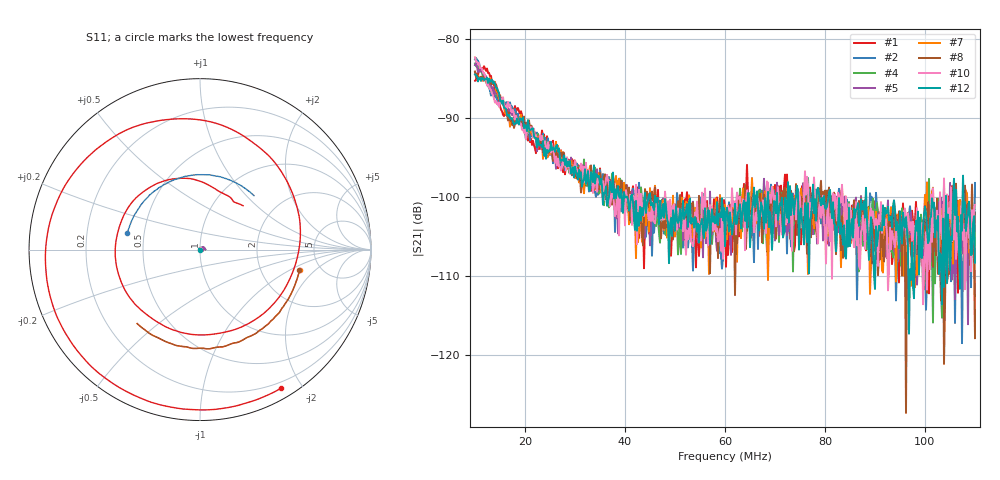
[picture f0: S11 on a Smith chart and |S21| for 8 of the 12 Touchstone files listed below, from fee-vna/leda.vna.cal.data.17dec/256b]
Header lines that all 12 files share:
! Anritsu VNA Master:  Model: MS2036C/10/77
! SN:  1601066
! Existing Calibration Information:
! TYPE:  Current Settings,  Active Cal Settings
! # POINTS:  501,  501
! START FREQ:  10.000 MHz,  10.000 MHz
! STOP FREQ:  110.000 MHz,  110.000 MHz
! SOURCE POWER:  High,  High
! IFBW:  100 Hz,  100 Hz
! AVG FACTOR:  1 ,  1
! REF PLANE 1:  0 mm,  0 mm
! REF PLANE 2:  0 mm,  0 mm
! CAL TYPE:  Full S11,  Full S11
! CAL METHOD:  SOLT,  SOLT
! CAL LINE TYPE:  Coax,  Coax
! DUT PORT 1:  N-Conn(F),  N-Conn(F)
! DUT PORT 2:  K-Conn(F),  K-Conn(F)
! CAL STATUS:  OK: Accuracy High,  --
# GHZ S DB R 50.0
! FREQ.GHZ  S11DB  S11A  S21DB  S21A  S12DB  S12A  S22DB  S22A
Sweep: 10 MHz to 110 MHz
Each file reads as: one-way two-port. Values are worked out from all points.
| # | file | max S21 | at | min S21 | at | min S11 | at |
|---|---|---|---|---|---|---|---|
| 1 | 256.ns.n.me.s2p | -83.49 dB | 11.8 MHz | -112.2 dB | 100.8 MHz | -9.3 dB | 106 MHz |
| 2 | 256.ns.n.r20.11.s2p | -82.46 dB | 10.2 MHz | -118.5 dB | 107.4 MHz | -7.3 dB | 27 MHz |
| 3 | 256.ns.n.r20.12.s2p | -82.38 dB | 10 MHz | -116.9 dB | 94 MHz | -7.3 dB | 27 MHz |
| 4 | 256.ns.n.r50.12.s2p | -83.16 dB | 10 MHz | -115.9 dB | 101.6 MHz | -43.6 dB | 10.2 MHz |
| 5 | 256.ns.n.r50.21.s2p | -83.11 dB | 10.2 MHz | -116.2 dB | 108.6 MHz | -44.0 dB | 10.2 MHz |
| 6 | 256.ns.n.r50.22.s2p | -82.63 dB | 10 MHz | -112.5 dB | 108.6 MHz | -44.0 dB | 10 MHz |
| 7 | 256.ns.n.r200.21.s2p | -84.21 dB | 10 MHz | -117.7 dB | 110 MHz | -4.9 dB | 110 MHz |
| 8 | 256.ns.n.r200.22.s2p | -84.18 dB | 10 MHz | -127.4 dB | 96.2 MHz | -4.9 dB | 109.6 MHz |
| 9 | 256.ns.sma.r20.12.s2p | -82.59 dB | 10 MHz | -125.6 dB | 100 MHz | -64.1 dB | 10.4 MHz |
| 10 | 256.ns.sma.r20.21.s2p | -82.36 dB | 10 MHz | -113.6 dB | 99.6 MHz | -64.1 dB | 10.4 MHz |
| 11 | 256.ns.sma.r20.22.s2p | -82.27 dB | 10 MHz | -122.5 dB | 107.8 MHz | -64.1 dB | 10.4 MHz |
| 12 | 256.ns.sma.r200.22.s2p | -84.53 dB | 10 MHz | -117.4 dB | 96.8 MHz | -51.1 dB | 10.4 MHz |
